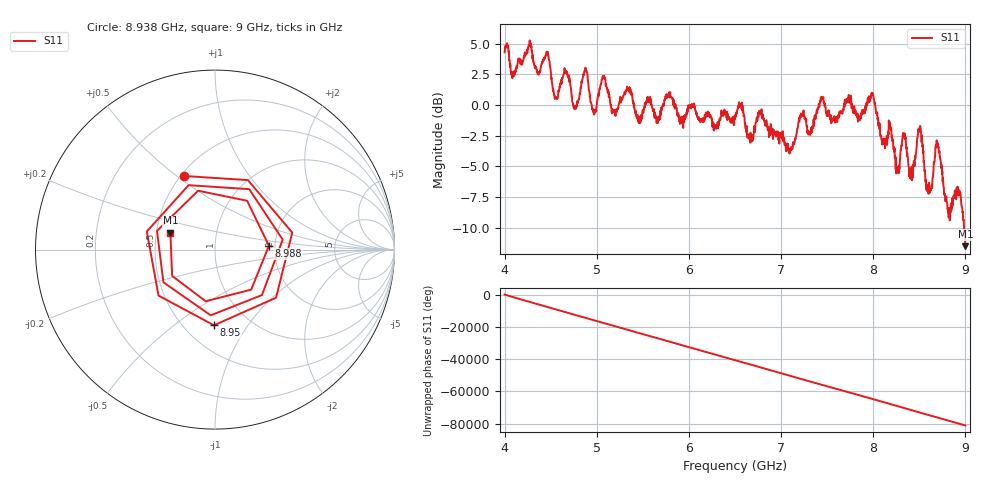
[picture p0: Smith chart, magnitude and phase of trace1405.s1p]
! Created with skrf 1.8.0 (http://scikit-rf.org).
# Hz S RI R 50.0
!freq ReS11 ImS11
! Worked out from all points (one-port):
!   1601 points, 4 GHz to 9 GHz, reference 50 ohm
!   lowest |S11| = -11.5 dB at 9 GHz (marker M1), VSWR 1.72, Z = 29.6 + j5.97 ohm
!   |S11| at or under -10 dB: 8.985513 GHz to end of sweep
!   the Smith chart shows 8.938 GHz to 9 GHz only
!   S11 on the Smith chart (normalised r, x): 8.938 GHz: 0.52, +0.53; 8.95 GHz: 0.69, -0.71; 8.988 GHz: 1.86, +0.09; 9 GHz: 0.59, +0.12
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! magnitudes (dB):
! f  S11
! 4 GHz  4.3
! 4.094 GHz  2.4
! 4.462 GHz  4.1
! 4.556 GHz  0.7
! 4.625 GHz  2.1
! 4.759 GHz  -0.2
! 4.875 GHz  3.0
! 4.969 GHz  -0.8
! 5.069 GHz  2.3
! 5.25 GHz  0.3
! 5.875 GHz  -0.9
! 6.5 GHz  -1.2
! 7.125 GHz  -3.6
! 7.434 GHz  0.4
! 7.75 GHz  0.5
! 7.991 GHz  0.8
! 8.259 GHz  -5.1
! 8.328 GHz  -2.3
! 8.375 GHz  -4.2
! 8.425 GHz  -5.1
! 8.503 GHz  -2.1
! 8.6 GHz  -7.2
! 8.7 GHz  -3.1
! 8.806 GHz  -8.5
! 8.938 GHz  -7.0
! 8.95 GHz  -7.5
! 8.988 GHz  -10.4
! 9 GHz  -11.5
